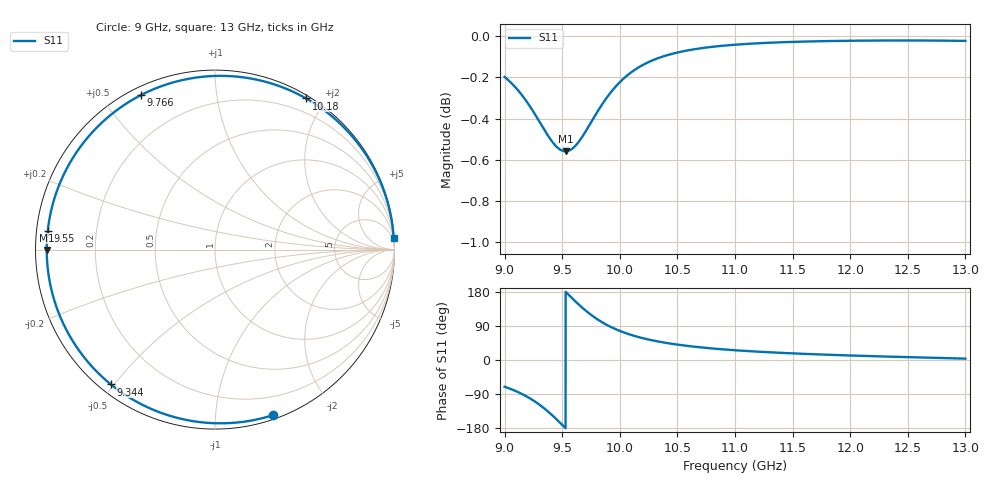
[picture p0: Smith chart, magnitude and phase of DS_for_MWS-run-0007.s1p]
! TOUCHSTONE file generated by CST DESIGN STUDIO
! Date and time: Tue Feb  4 13:10:29 2025
! Project name: C:\Work\MatlabApps\UnitCellOptimizationMatlab\CST\unitcell.cst
! Tree item: Tasks\Sweep1\SPara1\S-Parameters
! Header version: 2024
! Port assignment regex: !\s*Touchstone port\s*([0-9]+)\s*=\s*(CST MWS port|CST DES external port|CST DES block port)\s*(.+)\s* \(\"(.*)\"\)(\s*mode\s*([0-9]+))?.*
! Touchstone port assignment:
! Touchstone port 1 = CST DES external port 1 ("")
# GHz S MA R 50
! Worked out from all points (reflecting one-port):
!   4001 points, 9 GHz to 13 GHz, reference 50 ohm
!   lowest |S11| = -0.6 dB at 9.529 GHz (marker M1), VSWR 31.07, Z = 1.61 - j0.0644 ohm
!   phase of S11 starts at -71 deg and turns -286 deg over the sweep
!   S11 on the Smith chart (normalised r, x): 9 GHz: 0.03, -1.41; 9.344 GHz: 0.03, -0.49; 9.55 GHz: 0.03, +0.05; 9.766 GHz: 0.03, +0.63; 10.18 GHz: 0.03, +1.77; 13 GHz: 1, +32
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9  0.9775 -70.6
9.096  0.9717 -81.9
9.202  0.9632 -98.0
9.277  0.9559 -112.4
9.344  0.9491 -127.7
9.387  0.9449 -138.7
9.431  0.9413 -150.8
9.5  0.938 -171.1
9.529  0.9376 -179.9
9.55  0.9378 173.8
9.604  0.9399 157.7
9.664  0.9444 140.7
9.714  0.9492 127.8
9.766  0.9546 115.7
9.815  0.9596 105.5
9.868  0.9646 95.8
9.934  0.97 85.5
10  0.9746 76.8
10.087  0.9794 67.3
10.182  0.9834 58.9
10.327  0.9877 49.2
10.5  0.9909 40.6
10.721  0.9934 32.7
11  0.9953 25.7
11.5  0.9968 17.5
12  0.9975 11.9
12.5  0.9976 7.5
13  0.9974 3.6
